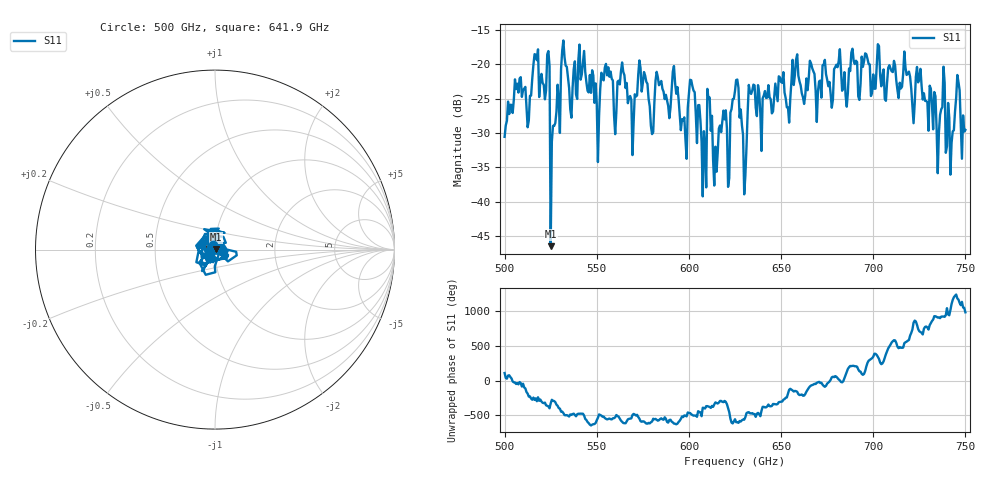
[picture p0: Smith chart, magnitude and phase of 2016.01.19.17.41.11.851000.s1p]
!Created with skrf (http://scikit-rf.org).
# GHz S RI R 50.0
!freq ReS11 ImS11
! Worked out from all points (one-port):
!   401 points, 500 GHz to 750 GHz, reference 50 ohm
!   lowest |S11| = -46.5 dB at 525 GHz (marker M1), VSWR 1.01, Z = 50.4 + j0.231 ohm
!   |S11| at or under -10 dB: start of sweep to end of sweep
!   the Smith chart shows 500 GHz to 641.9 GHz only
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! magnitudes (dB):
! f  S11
! 500 GHz  -30.5
! 506.9 GHz  -22.8
! 513.1 GHz  -28.1
! 516.9 GHz  -18.6
! 523.1 GHz  -18.5
! 525 GHz  -46.5
! 526.2 GHz  -28.9
! 531.2 GHz  -18.0
! 541.9 GHz  -21.5
! 550 GHz  -25.8
! 562.5 GHz  -22.9
! 568.8 GHz  -25.1
! 574.4 GHz  -23.9
! 580 GHz  -30.1
! 583.1 GHz  -21.8
! 593.8 GHz  -23.3
! 597.5 GHz  -27.7
! 601.9 GHz  -23.1
! 608.1 GHz  -29.7
! 611.2 GHz  -24.8
! 614.4 GHz  -32.0
! 625 GHz  -23.9
! 630 GHz  -38.9
! 633.8 GHz  -24.3
! 656.2 GHz  -19.3
! 687.5 GHz  -21.0
! 718.8 GHz  -21.3
! 750 GHz  -29.5
